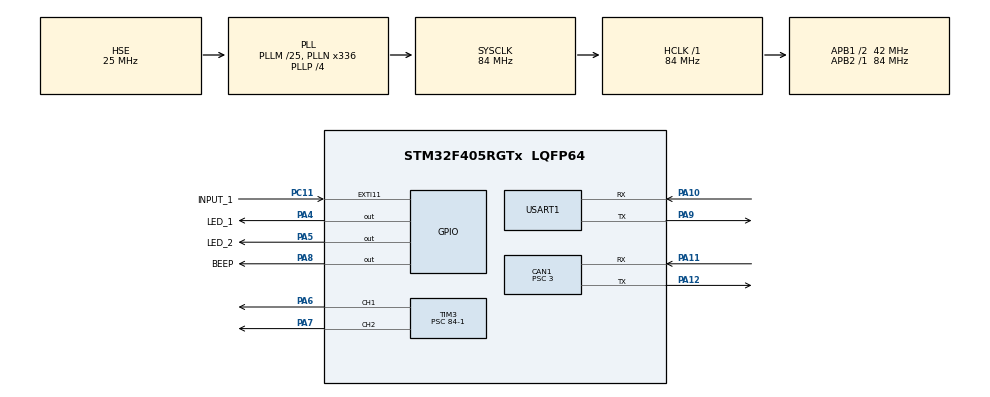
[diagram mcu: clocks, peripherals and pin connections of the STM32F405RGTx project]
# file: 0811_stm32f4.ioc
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CAN1.ABOM=ENABLE
CAN1.AWUM=ENABLE
CAN1.BS1=CAN_BS1_9TQ
CAN1.BS2=CAN_BS2_4TQ
CAN1.CalculateBaudRate=1000000
CAN1.CalculateTimeBit=1000
CAN1.CalculateTimeQuantum=71.42857142857143
CAN1.NART=ENABLE
CAN1.Prescaler=3
Dma.Request0=USART1_RX
Dma.Request1=USART1_TX
Dma.USART1_RX.0.Direction=DMA_PERIPH_TO_MEMORY
Dma.USART1_RX.0.FIFOMode=DMA_FIFOMODE_DISABLE
Dma.USART1_RX.0.Instance=DMA2_Stream2
Dma.USART1_RX.0.MemDataAlignment=DMA_MDATAALIGN_BYTE
Dma.USART1_RX.0.MemInc=DMA_MINC_ENABLE
Dma.USART1_RX.0.Mode=DMA_NORMAL
Dma.USART1_RX.0.PeriphDataAlignment=DMA_PDATAALIGN_BYTE
Dma.USART1_RX.0.PeriphInc=DMA_PINC_DISABLE
Dma.USART1_RX.0.Priority=DMA_PRIORITY_LOW
Dma.USART1_TX.1.Direction=DMA_MEMORY_TO_PERIPH
Dma.USART1_TX.1.FIFOMode=DMA_FIFOMODE_DISABLE
Dma.USART1_TX.1.Instance=DMA2_Stream7
Dma.USART1_TX.1.MemDataAlignment=DMA_MDATAALIGN_BYTE
Dma.USART1_TX.1.MemInc=DMA_MINC_ENABLE
Dma.USART1_TX.1.Mode=DMA_NORMAL
Dma.USART1_TX.1.PeriphDataAlignment=DMA_PDATAALIGN_BYTE
Dma.USART1_TX.1.PeriphInc=DMA_PINC_DISABLE
Dma.USART1_TX.1.Priority=DMA_PRIORITY_LOW
FREERTOS.Tasks01=defaultTask,24,128,StartDefaultTask,Default,NULL,Dynamic,NULL,NULL
Mcu.Family=STM32F4
Mcu.Name=STM32F405RGTx
Mcu.Package=LQFP64
NVIC.CAN1_RX0_IRQn=true\:5\:0\:true\:false\:true\:true\:true\:true\:true
NVIC.CAN1_RX1_IRQn=true\:5\:0\:true\:false\:true\:true\:true\:true\:true
NVIC.CAN1_TX_IRQn=true\:5\:0\:true\:false\:true\:true\:true\:true\:true
NVIC.DMA2_Stream2_IRQn=true\:5\:0\:false\:false\:true\:true\:false\:true\:true
NVIC.DMA2_Stream7_IRQn=true\:5\:0\:false\:false\:true\:true\:false\:true\:true
NVIC.EXTI15_10_IRQn=true\:5\:0\:true\:false\:true\:true\:true\:true\:true
NVIC.PriorityGroup=NVIC_PRIORITYGROUP_4
NVIC.TIM1_UP_TIM10_IRQn=true\:15\:0\:false\:false\:true\:false\:false\:true\:true
NVIC.TIM2_IRQn=true\:5\:0\:true\:false\:true\:true\:true\:true\:true
NVIC.TimeBase=TIM1_UP_TIM10_IRQn
NVIC.TimeBaseIP=TIM1
NVIC.USART1_IRQn=true\:5\:0\:true\:false\:true\:true\:true\:true\:true
PA10.GPIO_PuPd=GPIO_PULLUP
PA10.Mode=Asynchronous
PA10.Signal=USART1_RX
PA11.Mode=CAN_Activate
PA11.Signal=CAN1_RX
PA12.Mode=CAN_Activate
PA12.Signal=CAN1_TX
PA4.GPIO_Label=LED_1
PA4.GPIO_PuPd=GPIO_PULLDOWN
PA4.Signal=GPIO_Output
PA5.GPIO_Label=LED_2
PA5.GPIO_PuPd=GPIO_PULLDOWN
PA5.Signal=GPIO_Output
PA6.Signal=S_TIM3_CH1
PA7.Signal=S_TIM3_CH2
PA8.GPIO_Label=BEEP
PA8.GPIO_PuPd=GPIO_PULLDOWN
PA8.Signal=GPIO_Output
PA9.Mode=Asynchronous
PA9.Signal=USART1_TX
PC11.GPIO_Label=INPUT_1
PC11.GPIO_ModeDefaultEXTI=GPIO_MODE_IT_RISING
PC11.GPIO_PuPd=GPIO_PULLDOWN
PC11.Signal=GPXTI11
PH0-OSC_IN.Mode=HSE-External-Oscillator
PH0-OSC_IN.Signal=RCC_OSC_IN
PH1-OSC_OUT.Mode=HSE-External-Oscillator
PH1-OSC_OUT.Signal=RCC_OSC_OUT
ProjectManager.HeapSize=0x800
ProjectManager.StackSize=0x400
ProjectManager.TargetToolchain=MDK-ARM V5.32
RCC.48MHZClocksFreq_Value=84000000
RCC.AHBFreq_Value=84000000
RCC.APB1CLKDivider=RCC_HCLK_DIV2
RCC.APB1Freq_Value=42000000
RCC.APB1TimFreq_Value=84000000
RCC.APB2Freq_Value=84000000
RCC.APB2TimFreq_Value=84000000
RCC.CortexFreq_Value=84000000
RCC.HCLKFreq_Value=84000000
RCC.HSE_VALUE=25000000
RCC.HSI_VALUE=16000000
RCC.LSE_VALUE=32768
RCC.PLLM=25
RCC.PLLN=336
RCC.PLLP=RCC_PLLP_DIV4
RCC.PLLSourceVirtual=RCC_PLLSOURCE_HSE
RCC.SYSCLKFreq_VALUE=84000000
RCC.SYSCLKSource=RCC_SYSCLKSOURCE_PLLCLK
RCC.VCOOutputFreq_Value=336000000
SH.S_TIM3_CH1.0=TIM3_CH1,PWM Generation1 CH1
SH.S_TIM3_CH2.0=TIM3_CH2,PWM Generation2 CH2
TIM2.Period=2000-1
TIM2.Prescaler=84-1
TIM3.AutoReloadPreload=TIM_AUTORELOAD_PRELOAD_ENABLE
TIM3.Channel-PWM\ Generation1\ CH1=TIM_CHANNEL_1
TIM3.Channel-PWM\ Generation2\ CH2=TIM_CHANNEL_2
TIM3.OCFastMode_PWM-PWM\ Generation1\ CH1=TIM_OCFAST_ENABLE
TIM3.OCFastMode_PWM-PWM\ Generation2\ CH2=TIM_OCFAST_ENABLE
TIM3.Period=1000-1
TIM3.Prescaler=84-1
USART1.VirtualMode=VM_ASYNC
VP_FREERTOS_VS_CMSIS_V2.Mode=CMSIS_V2
VP_SYS_VS_tim1.Mode=TIM1
VP_TIM2_VS_ClockSourceINT.Mode=Internal
VP_TIM3_VS_ClockSourceINT.Mode=Internal
board=custom

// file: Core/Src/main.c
/* USER CODE BEGIN Header */
/**
 ******************************************************************************
 * @file           : main.c
 * @brief          : Main program body
 ******************************************************************************
 * @attention
 *
 * Copyright (c) 2026 STMicroelectronics.
 * All rights reserved.
 *
 * This software is licensed under terms that can be found in the LICENSE file
 * in the root directory of this software component.
 * If no LICENSE file comes with this software, it is provided AS-IS.
 *
 ******************************************************************************
 */
/* USER CODE END Header */
#include "main.h"
#include "cmsis_os.h"
#include "can.h"
#include "dma.h"
#include "tim.h"
#include "usart.h"
#include "gpio.h"

/* USER CODE BEGIN Includes */
#include "app.h"
#include "uart_irq.h"
#include "buzzer.h"
#include <math.h>
#include <string.h>
#include "can_irq.h"
#include "can_app.h"
#include "protocol.h"
#include "can_irq.h"
#include "uart_irq.h"
#include "buzzer.h"
#include "led_flow.h"
#include "breath_led.h"

/* USER CODE END Includes */

void SystemClock_Config(void);
void MX_FREERTOS_Init(void);

int main(void)
{

  /* MCU Configuration--------------------------------------------------------*/

  /* Reset of all peripherals, Initializes the Flash interface and the Systick. */
  HAL_Init();

  /* Configure the system clock */
  SystemClock_Config();

  /* Initialize all configured peripherals */
  MX_GPIO_Init();
  MX_DMA_Init();
  MX_TIM3_Init();
  MX_TIM2_Init();
  MX_USART1_UART_Init();
  MX_CAN1_Init();
  /* USER CODE BEGIN 2 */
  app_init();
  UART_Start_Receive();
  can_app_init();
  CAN_Start();
  /* USER CODE END 2 */

  /* Init scheduler */
  osKernelInitialize();  /* Call init function for freertos objects (in cmsis_os2.c) */
  MX_FREERTOS_Init();

  /* Start scheduler */
  osKernelStart();

  /* We should never get here as control is now taken by the scheduler */

  /* Infinite loop */
  while (1)
  {

  }
}

void SystemClock_Config(void)
{
  RCC_OscInitTypeDef RCC_OscInitStruct = {0};
  RCC_ClkInitTypeDef RCC_ClkInitStruct = {0};

  /** Configure the main internal regulator output voltage
  */
  __HAL_RCC_PWR_CLK_ENABLE();
  __HAL_PWR_VOLTAGESCALING_CONFIG(PWR_REGULATOR_VOLTAGE_SCALE1);

  /** Initializes the RCC Oscillators according to the specified parameters
  * in the RCC_OscInitTypeDef structure.
  */
  RCC_OscInitStruct.OscillatorType = RCC_OSCILLATORTYPE_HSE;
  RCC_OscInitStruct.HSEState = RCC_HSE_ON;
  RCC_OscInitStruct.PLL.PLLState = RCC_PLL_ON;
  RCC_OscInitStruct.PLL.PLLSource = RCC_PLLSOURCE_HSE;
  RCC_OscInitStruct.PLL.PLLM = 25;
  RCC_OscInitStruct.PLL.PLLN = 336;
  RCC_OscInitStruct.PLL.PLLP = RCC_PLLP_DIV4;
  RCC_OscInitStruct.PLL.PLLQ = 4;
  if (HAL_RCC_OscConfig(&RCC_OscInitStruct) != HAL_OK)
  {
    Error_Handler();
  }

  /** Initializes the CPU, AHB and APB buses clocks
  */
  RCC_ClkInitStruct.ClockType = RCC_CLOCKTYPE_HCLK|RCC_CLOCKTYPE_SYSCLK
                              |RCC_CLOCKTYPE_PCLK1|RCC_CLOCKTYPE_PCLK2;
  RCC_ClkInitStruct.SYSCLKSource = RCC_SYSCLKSOURCE_PLLCLK;
  RCC_ClkInitStruct.AHBCLKDivider = RCC_SYSCLK_DIV1;
  RCC_ClkInitStruct.APB1CLKDivider = RCC_HCLK_DIV2;
  RCC_ClkInitStruct.APB2CLKDivider = RCC_HCLK_DIV1;

  if (HAL_RCC_ClockConfig(&RCC_ClkInitStruct, FLASH_LATENCY_2) != HAL_OK)
  {
    Error_Handler();
  }
}

void HAL_TIM_PeriodElapsedCallback(TIM_HandleTypeDef *htim)
{
  if (htim->Instance == TIM1)
  {
    HAL_IncTick();
  }
}

void Error_Handler(void)
{
  __disable_irq();
  while (1)
  {
  }
}

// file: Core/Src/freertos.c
/* USER CODE BEGIN Header */
/**
  ******************************************************************************
  * File Name          : freertos.c
  * Description        : Code for freertos applications
  ******************************************************************************
  * @attention
  *
  * Copyright (c) 2026 STMicroelectronics.
  * All rights reserved.
  *
  * This software is licensed under terms that can be found in the LICENSE file
  * in the root directory of this software component.
  * If no LICENSE file comes with this software, it is provided AS-IS.
  *
  ******************************************************************************
  */
/* USER CODE END Header */

#include "FreeRTOS.h"
#include "task.h"
#include "main.h"
#include "cmsis_os.h"

/* USER CODE BEGIN Includes */
#include "app_tasks.h"
/* USER CODE END Includes */

/* Definitions for defaultTask */
osThreadId_t defaultTaskHandle;
const osThreadAttr_t defaultTask_attributes = {
  .name = "defaultTask",
  .stack_size = 128 * 4,
  .priority = (osPriority_t) osPriorityNormal,
};

void StartDefaultTask(void *argument);

void MX_FREERTOS_Init(void); /* (MISRA C 2004 rule 8.1) */

void MX_FREERTOS_Init(void) {

  /* Create the thread(s) */
  /* creation of defaultTask */

  /* USER CODE BEGIN RTOS_THREADS */
  /* add threads, ... */
   app_tasks_create();
  /* USER CODE END RTOS_THREADS */

}

void StartDefaultTask(void *argument)
{
  for(;;)
  {
    osDelay(1);
  }
}
